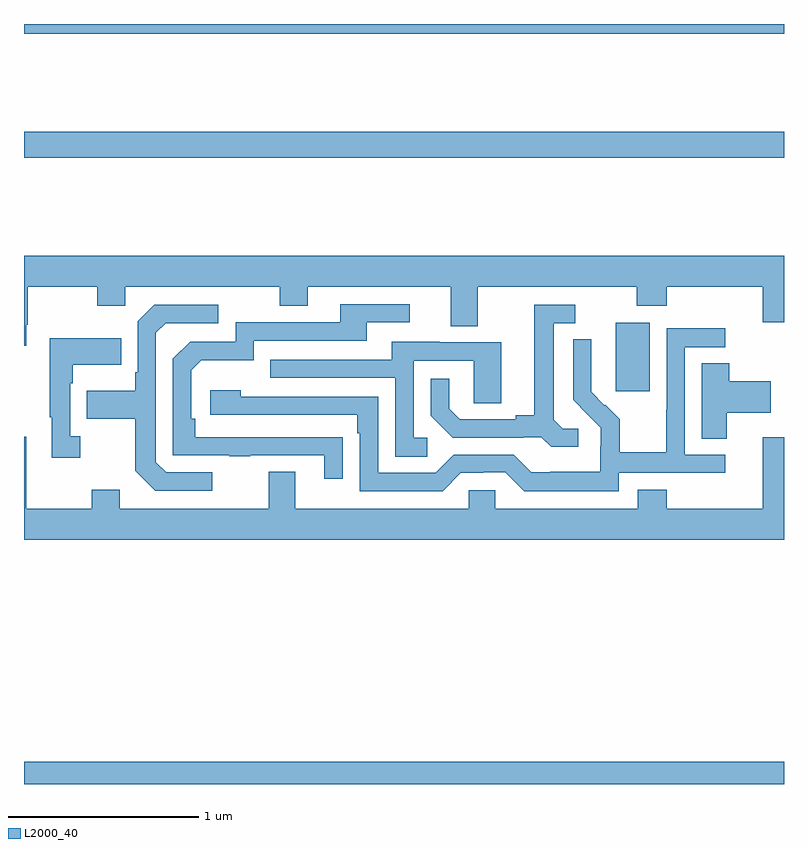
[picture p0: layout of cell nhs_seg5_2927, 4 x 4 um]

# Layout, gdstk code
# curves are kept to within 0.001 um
import gdstk
lib = gdstk.Library(unit=1e-6, precision=1e-09)
def R(c, l, rs):  # rectangles x0, y0, x1, y1
    for r in rs: c.add(gdstk.rectangle(r[:2], r[2:], *l))
def P(c, l, *ps):  # polygons
    for p in ps: c.add(gdstk.Polygon(p, *l))
L2000_40 = (2000, 40)

nhs_seg5_2927 = lib.new_cell('nhs_seg5_2927')
R(nhs_seg5_2927, L2000_40, [(281,864.799,285,864.916), (284.114,866.865,284.293,867.226), (281,868.096,285,868.232), (281,868.748,285,868.799)])
P(nhs_seg5_2927, L2000_40, [(281.011,867.217),(281.019,867.217),(281.019,867.416),(281.386,867.416),(281.386,867.317),(281.532,867.317),(281.532,867.416),(282.346,867.416),(282.346,867.317),(282.493,867.317),(282.493,867.416),(283.247,867.416),(283.247,867.208),(283.387,867.208),(283.387,867.416),(284.224,867.416),(284.224,867.317),(284.384,867.317),(284.384,867.416),(284.888,867.416),(284.888,867.228),(285,867.228),(285,867.58),(281,867.58),(281,867.105),(281.011,867.105)],
  [(282.677,866.624),(281.9,866.625),(281.9,866.722),(281.88,866.722),(281.88,866.976),(281.933,867.029),(282.21,867.029),(282.21,867.132),(282.805,867.132),(282.805,867.228),(283.03,867.228),(283.03,867.324),(282.665,867.324),(282.665,867.228),(282.114,867.228),(282.114,867.126),(281.874,867.126),(281.784,867.036),(281.784,866.529),(282.079,866.529),(282.079,866.524),(282.191,866.524),(282.191,866.529),(282.581,866.529),(282.581,866.406),(282.677,866.406)],
  [(281.992,866.439),(281.748,866.439),(281.694,866.493),(281.694,867.174),(281.745,867.225),(282.022,867.225),(282.022,867.321),(281.685,867.321),(281.598,867.234),(281.598,866.965),(281.586,866.965),(281.586,866.869),(281.329,866.869),(281.329,866.722),(281.586,866.722),(281.586,866.449),(281.691,866.343),(281.992,866.343)],
  [(283.918,866.67),(283.836,866.67),(283.789,866.717),(283.789,867.225),(283.9,867.225),(283.9,867.321),(283.685,867.321),(283.685,866.741),(283.589,866.741),(283.589,866.718),(283.294,866.718),(283.237,866.775),(283.237,866.932),(283.14,866.932),(283.14,866.738),(283.256,866.622),(283.628,866.622),(283.628,866.625),(283.722,866.625),(283.774,866.573),(283.918,866.573)],
  [(284.13,866.436),(284.692,866.436),(284.692,866.532),(284.478,866.532),(284.478,867.099),(284.692,867.099),(284.692,867.198),(284.382,867.198),(284.382,866.768),(284.38,866.768),(284.38,866.545),(284.135,866.545),(284.135,866.719),(284.058,866.796),(284.055,866.793),(283.985,866.864),(283.986,867.14),(283.89,867.14),(283.89,866.822),(284.036,866.674),(284.036,866.577),(284.034,866.577),(284.034,866.443),(283.771,866.443),(283.771,866.439),(283.671,866.439),(283.578,866.532),(283.263,866.532),(283.167,866.436),(282.864,866.436),(282.864,866.838),(282.14,866.838),(282.14,866.872),(281.979,866.872),(281.979,866.742),(282.755,866.742),(282.755,866.645),(282.768,866.645),(282.768,866.34),(283.203,866.34),(283.299,866.436),(283.418,866.436),(283.418,866.439),(283.533,866.439),(283.633,866.339),(284.13,866.339)],
  [(281.296,866.63),(281.244,866.63),(281.244,866.909),(281.257,866.909),(281.257,867.005),(281.513,867.005),(281.513,867.145),(281.136,867.145),(281.136,866.729),(281.147,866.729),(281.147,866.517),(281.296,866.517)],
  [(283.123,866.622),(283.05,866.622),(283.05,867.027),(283.368,867.027),(283.368,866.803),(283.513,866.803),(283.513,867.123),(283.189,867.123),(283.189,867.127),(282.935,867.127),(282.935,867.033),(282.295,867.033),(282.295,866.937),(282.954,866.937),(282.954,866.521),(283.123,866.521)],
  [(284.698,866.753),(284.929,866.753),(284.929,866.919),(284.711,866.919),(284.711,867.014),(284.567,867.014),(284.567,866.617),(284.698,866.617)],
  [(285,866.623),(284.888,866.623),(284.888,866.248),(284.384,866.248),(284.384,866.347),(284.231,866.347),(284.231,866.248),(283.479,866.248),(283.479,866.346),(283.341,866.346),(283.341,866.248),(282.427,866.248),(282.427,866.443),(282.287,866.443),(282.287,866.248),(281.503,866.248),(281.503,866.347),(281.356,866.347),(281.356,866.248),(281.011,866.248),(281.011,866.626),(281,866.626),(281,866.084),(285,866.084)])

lib.write_gds('nhs_seg5_2927.gds')
